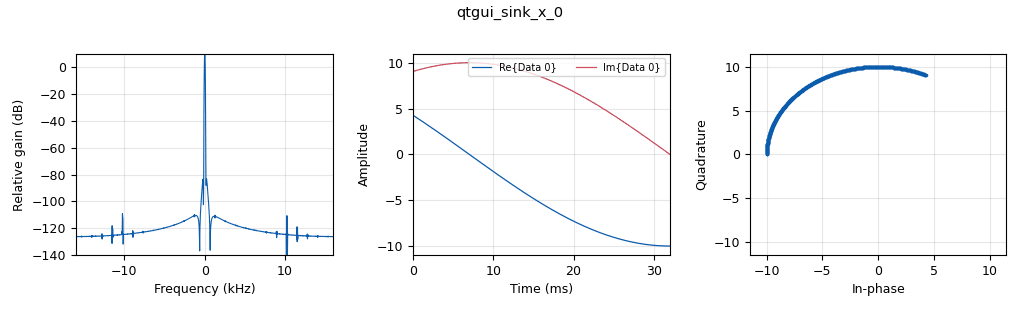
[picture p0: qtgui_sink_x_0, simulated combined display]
options:
  parameters:
    author: raidfire
    generate_options: qt_gui
    id: runner
    output_language: python
    title: Not titled yet
  states: {}

blocks:
- name: samp_rate
  id: variable
  parameters:
    value: '32000'
  states: {}
- name: analog_sig_source_x_0
  id: analog_sig_source_x
  parameters:
    amp: '10'
    freq: '10'
    offset: '0'
    phase: '0'
    samp_rate: samp_rate
    type: complex
    waveform: analog.GR_COS_WAVE
  states: {}
- name: qtgui_sink_x_0
  id: qtgui_sink_x
  parameters:
    bw: samp_rate
    fc: '0'
    fftsize: '1024'
    type: complex
    wintype: firdes.WIN_BLACKMAN_hARRIS
  states: {}

connections:
- [analog_sig_source_x_0, '0', qtgui_sink_x_0, '0']

metadata:
  file_format: 1
